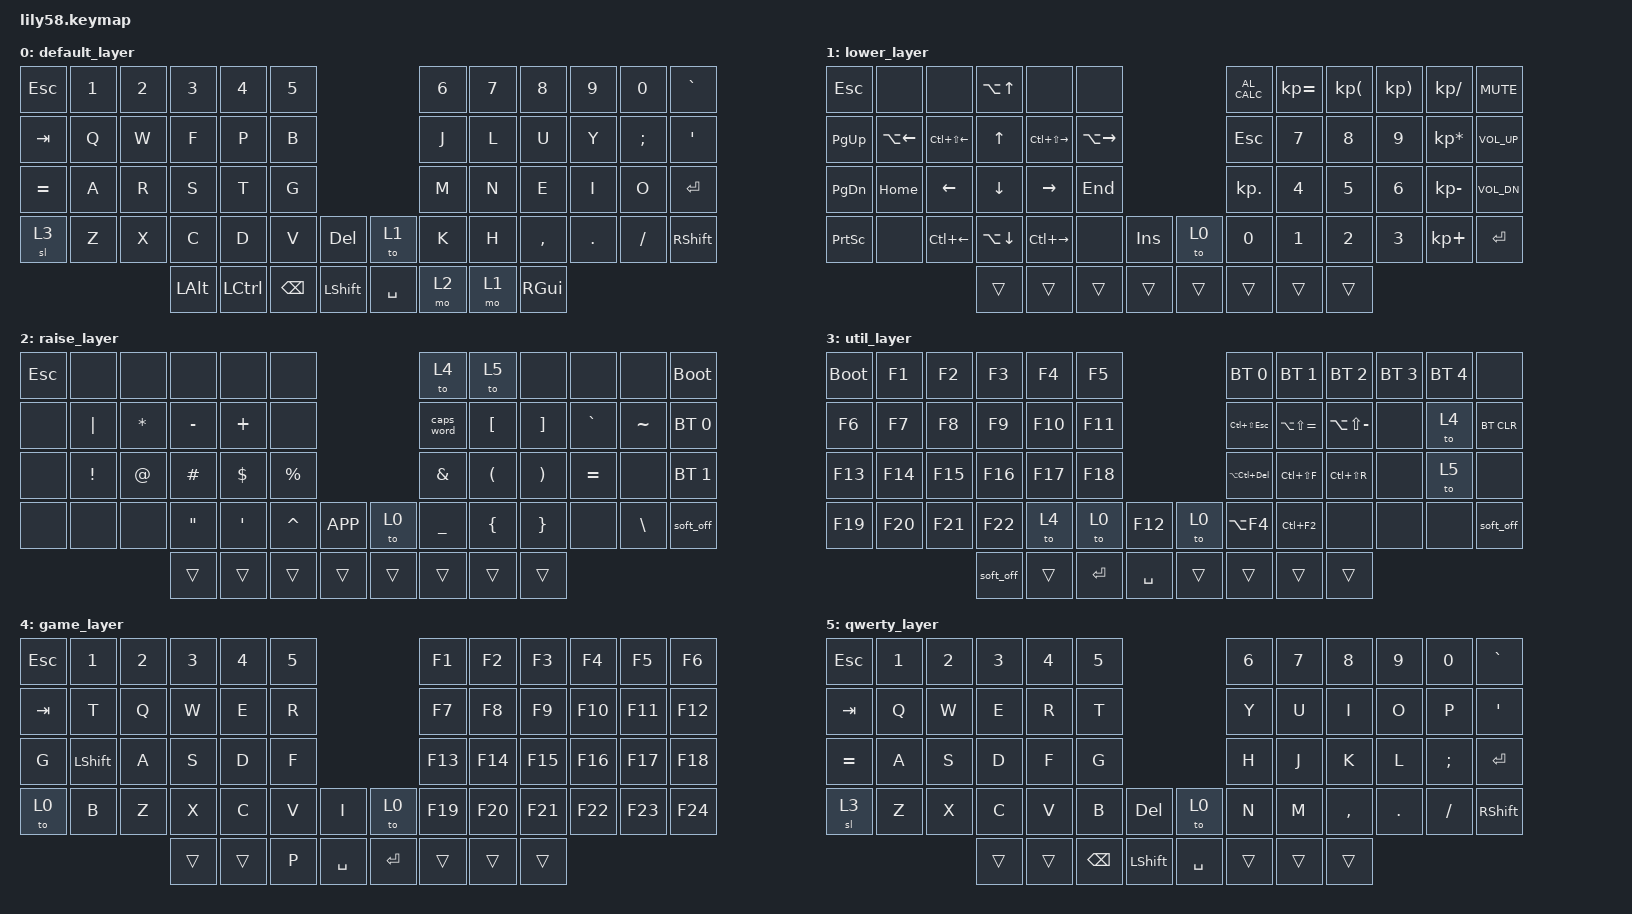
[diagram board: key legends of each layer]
/*
 * Copyright (c) 2020 The ZMK Contributors
 *
 * SPDX-License-Identifier: MIT
 */ 

#include <behaviors.dtsi>
#include <dt-bindings/zmk/keys.h>
#include <dt-bindings/zmk/bt.h>
#include <dt-bindings/zmk/ext_power.h>

&caps_word {
    continue-list = <UNDERSCORE MINUS>;
};

/ {
    keymap {
        compatible = "zmk,keymap";

        default_layer {
// ------------------------------------------------------------------------------------------------------------
// |  ESC  |  1  |  2  |  3   |  4    |  5   |                   |  6   |  7    |  8    |  9   |   0   |   `   |
// |  TAB  |  Q  |  W  |  F   |  P    |  B   |                   |  J   |  L    |  U    |  Y   |   ;   |   '   |
// |   =   |  A  |  R  |  S   |  T    |  G   |                   |  M   |  N    |  E    |  I   |   O   | ENTER |
// |  SL_3 |  Z  |  X  |  C   |  D    |  V   |   DEL  |  | TO-1  |  K   |  H    |  ,    |  .   |   /   | SHIFT |
//                     | ALT  | CTRL  | BSPC |  SHIFT |  | SPACE | RAISE| LOWER | GUI   |
            bindings = <
&kp ESC   &kp N1 &kp N2 &kp N3   &kp N4     &kp N5                         &kp N6 &kp N7   &kp N8    &kp N9  &kp N0   &kp GRAVE
&kp TAB   &kp Q  &kp W  &kp F    &kp P      &kp B                          &kp J  &kp L    &kp U     &kp Y   &kp SEMI &kp SQT
&kp EQUAL &kp A  &kp R  &kp S    &kp T      &kp G                          &kp M  &kp N    &kp E     &kp I   &kp O    &kp RET
&sl 3     &kp Z  &kp X  &kp C    &kp D      &kp V     &kp DEL    &to 1     &kp K  &kp H    &kp COMMA &kp DOT &kp FSLH &kp RSHFT
                        &kp LALT &kp LCTRL  &kp BSPC  &kp LSHFT  &kp SPACE &mo 2  &mo 1    &kp RGUI
            >;
        };

        lower_layer {
// ------------------------------------------------------------------------------------------------------------
// | ESC   |      |     |  A^  |      |      |                    | CALC  |   =   |   (   |  )   |   /   | C_MUTE |
// | PG_UP |  A<  | CS< |  ^   |  CS> |  A>  |                    | ESC   |   7   |   8   |  9   |   *   | VOL_UP |
// | PG_DN | HOME |  <- |  v   |  ->  | END  |                    |   .   |   4   |   5   |  6   |   -   | VOL_DN |
// | PSCRN |      |  C< |  Av  |  C>  |      |  INS   |  | TO-0   |   0   |   1   |   2   |  3   |   +   | ENTER  |
//                      |      |      |      |        |  |        |       |       |       |
            bindings = <
&kp ESC    &none        &none            &kp LA(UP)    &none              &none                     &kp C_AL_CALC  &kp KP_EQUAL  &kp KP_LPAR  &kp KP_RPAR  &kp KP_DIVIDE    &kp C_MUTE
&kp PG_UP  &kp LA(LEFT) &kp LC(LS(LEFT)) &kp UP        &kp LC(LS(RIGHT))  &kp LA(RIGHT)             &kp ESC        &kp N7        &kp N8       &kp N9       &kp KP_MULTIPLY  &kp C_VOL_UP
&kp PG_DN  &kp HOME     &kp LEFT         &kp DOWN      &kp RIGHT          &kp END                   &kp KP_DOT     &kp N4        &kp N5       &kp N6       &kp KP_MINUS     &kp C_VOL_DN
&kp PSCRN  &none        &kp LC(LEFT)     &kp LA(DOWN)  &kp LC(RIGHT)      &none    &kp INS  &to 0   &kp N0         &kp N1        &kp N2       &kp N3       &kp KP_PLUS      &kp RET
                                         &trans        &trans             &trans   &trans   &trans  &trans         &trans        &trans
            >;
        };

        raise_layer {
// ------------------------------------------------------------------------------------------------------------
// |  ESC  |     |     |      |      |      |                  |  L-4  |  L-5  |       |      |      |  boot  |
// |       | "|" |  *  |  -   |  +   |      |                  |       |  [    |   ]   |   `  |  ~   |        |
// |       |  !  |  @  |  #   |  $   |  %   |                  |   &   |  (    |   )   |   =  |      |        |
// |       |     |     |  "   |  '   |  ^   | K_APP |  | TO-0  |   _   |  {    |   }   |      |   \  |        |
//                     |      |      |      |       |  |       |       |       |       |
            bindings = < 
&kp ESC  &none     &none      &none      &none       &none                          &to 4      &to 5     &none     &none      &none      &bootloader
&none    &kp PIPE  &kp ASTRK  &kp MINUS  &kp PLUS    &none                          &caps_word &kp LBKT  &kp RBKT  &kp GRAVE  &kp TILDE  &bt BT_SEL 0
&none    &kp EXCL  &kp AT     &kp HASH   &kp DOLLAR  &kp PRCNT                      &kp AMPS   &kp LPAR  &kp RPAR  &kp EQUAL  &none      &bt BT_SEL 1
&none    &none     &none      &kp DQT    &kp SQT     &kp CARET   &kp K_APP  &to 0   &kp UNDER  &kp LBRC  &kp RBRC  &none      &kp BSLH   &soft_off
                              &trans     &trans      &trans      &trans     &trans  &trans     &trans    &trans
            >;
        };

        util_layer {
// ------------------------------------------------------------------------------------------------------------
// |  boot |  F1   |  F2   |  F3   |  F4   |  F5   |                  | BT1   | BT2         | BT3         |  BT4   |  BT5 | BTCLR  |                
// |  F6   |  F7   |  F8   |  F9   |  F10  |  F11  |                  | CSESC | ALT SHFT =  | ALT SHFT -  |        |      | EP_ON  |                  
// |  F13  |  F14  |  F15  |  F16  |  F17  |  F18  |                  | ACDEL | CTRL SHFT T | CTRL SHFT P |        |      | EP_OFF |                  
// |  F19  |  F20  |  F21  |  F22  |  L-4  |  L-0  |  F12  |  | TO-0  | ALTF4 | CTRL F2     |             |        |      | EP_TOG |    
//                         |       |       | ENTER | SPACE |  |       |       |             |             |
            bindings = <
&bootloader  &kp F1   &kp F2   &kp F3   &kp F4   &kp F5                      &bt BT_SEL 0     &bt BT_SEL 1       &bt BT_SEL 2       &bt BT_SEL 3  &bt BT_SEL 4  &none               
&kp F6       &kp F7   &kp F8   &kp F9   &kp F10  &kp F11                     &kp LC(LS(ESC))  &kp LA(LS(EQUAL))  &kp LA(LS(MINUS))  &none         &to 4         &bt BT_CLR                  
&kp F13      &kp F14  &kp F15  &kp F16  &kp F17  &kp F18                     &kp LA(LC(DEL))  &kp LC(LS(F))      &kp LC(LS(R))      &none         &to 5         &none                         
&kp F19      &kp F20  &kp F21  &kp F22  &to 4    &to 0    &kp F12    &to 0   &kp LA(F4)       &kp LC(F2)         &none              &none         &none         &soft_off 
                            &soft_off   &trans   &kp RET  &kp SPACE  &trans  &trans           &trans             &trans
            >;
        };

        game_layer {
// ------------------------------------------------------------------------------------------------------------
// | ESC |   1  |  2  |  3  |  4   |  5  |                  |  F1  |  F2  |  F3  |  F4  |  F5  |  F6   |
// | TAB |   T  |  Q  |  W  |  E   |  R  |                  |  F7  |  F8  |  F9  |  F10 |  F11 |  F12  |
// |  G  | SHFT |  A  |  S  |  D   |  F  |                  |  F13 |  F14 |  F15 |  F16 |  F17 |  F18  |
// |  L-0  |   B  |  Z  |  X  |  C   |  V  |   I   |  | TO-0  |  F19 |  F20 |  F21 |  F22 |  F23 |  F24  |
//                    | ALT | CTRL |  P  | SPACE |  | ENTER |      |      |      |
            bindings = < 
&kp ESC   &kp N1     &kp N2  &kp N3  &kp N4  &kp N5                           &kp F1   &kp F2   &kp F3   &kp F4   &kp F5   &kp F6
&kp TAB   &kp T      &kp Q   &kp W   &kp E   &kp R                            &kp F7   &kp F8   &kp F9   &kp F10  &kp F11  &kp F12
&kp G     &kp LSHFT  &kp A   &kp S   &kp D   &kp F                            &kp F13  &kp F14  &kp F15  &kp F16  &kp F17  &kp F18   
&to 0     &kp B      &kp Z   &kp X   &kp C   &kp V   &kp I      &to 0         &kp F19  &kp F20  &kp F21  &kp F22  &kp F23  &kp F24
                             &trans  &trans  &kp P   &kp SPACE  &kp RET  &trans   &trans   &trans
            >;
        };
        
        qwerty_layer {
// ------------------------------------------------------------------------------------------------------------
// |  ESC  |  1  |  2  |  3   |  4    |  5   |                   |  6   |  7    |  8    |  9   |   0   |   `   |
// |  TAB  |  Q  |  W  |  E   |  R    |  T   |                   |  Y   |  U    |  I    |  O   |   P   |   '   |
// |   =   |  A  |  S  |  D   |  F    |  G   |                   |  H   |  J    |  K    |  L   |   ;   | ENTER |
// |  SL_3 |  Z  |  X  |  C   |  V    |  B   |   DEL  |  | TO-0  |  N   |  M    |  ,    |  .   |   /   | SHIFT |
//                     |      |       | BSPC |  SHIFT |  | SPACE |      |       |       |
            bindings = <
&kp ESC   &kp N1 &kp N2 &kp N3   &kp N4     &kp N5                         &kp N6 &kp N7   &kp N8    &kp N9  &kp N0   &kp GRAVE
&kp TAB   &kp Q  &kp W  &kp E    &kp R      &kp T                          &kp Y  &kp U    &kp I     &kp O   &kp P    &kp SQT
&kp EQUAL &kp A  &kp S  &kp D    &kp F      &kp G                          &kp H  &kp J    &kp K     &kp L   &kp SEMI &kp RET
&sl 3     &kp Z  &kp X  &kp C    &kp V      &kp B     &kp DEL    &to 0     &kp N  &kp M    &kp COMMA &kp DOT &kp FSLH &kp RSHFT
                        &trans   &trans     &kp BSPC  &kp LSHFT  &kp SPACE &trans &trans   &trans
            >;
        };
    };
};
